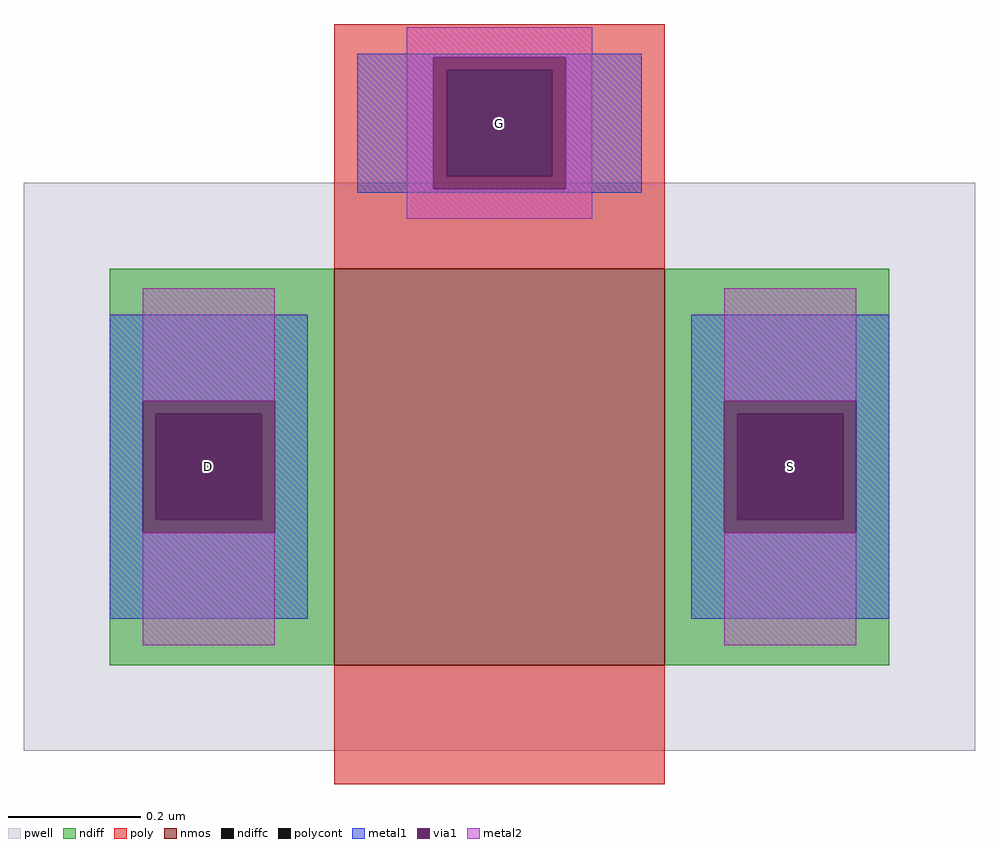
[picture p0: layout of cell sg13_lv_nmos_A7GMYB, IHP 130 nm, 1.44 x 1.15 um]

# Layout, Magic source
magic
tech ihp-sg13g2
magscale 1 2
<< pwell >>
rect -144 -105 144 67
<< nmos >>
rect -50 -79 50 41
<< ndiff >>
rect -118 -3 -50 41
rect -118 -35 -104 -3
rect -72 -35 -50 -3
rect -118 -79 -50 -35
rect 50 -3 118 41
rect 50 -35 72 -3
rect 104 -35 118 -3
rect 50 -79 118 -35
<< ndiffc >>
rect -104 -35 -72 -3
rect 72 -35 104 -3
<< poly >>
rect -50 101 50 115
rect -50 69 -16 101
rect 16 69 50 101
rect -50 41 50 69
rect -50 -115 50 -79
<< polycont >>
rect -16 69 16 101
<< metal1 >>
rect -43 105 43 106
rect -43 65 -20 105
rect 20 65 43 105
rect -43 64 43 65
rect -118 1 -58 27
rect -118 -39 -108 1
rect -68 -39 -58 1
rect -118 -65 -58 -39
rect 58 1 118 27
rect 58 -39 68 1
rect 108 -39 118 1
rect 58 -65 118 -39
<< via1 >>
rect -20 101 20 105
rect -20 69 -16 101
rect -16 69 16 101
rect 16 69 20 101
rect -20 65 20 69
rect -108 -3 -68 1
rect -108 -35 -104 -3
rect -104 -35 -72 -3
rect -72 -35 -68 -3
rect -108 -39 -68 -35
rect 68 -3 108 1
rect 68 -35 72 -3
rect 72 -35 104 -3
rect 104 -35 108 -3
rect 68 -39 108 -35
<< metal2 >>
rect -28 105 28 114
rect -28 65 -20 105
rect 20 65 28 105
rect -28 56 28 65
rect -108 1 -68 35
rect -108 -73 -68 -39
rect 68 1 108 35
rect 68 -73 108 -39
<< labels >>
rlabel metal1 s -88 -19 -88 -19 4 D
rlabel metal1 s 88 -19 88 -19 4 S
rlabel metal1 s 0 85 0 85 4 G
<< end >>
